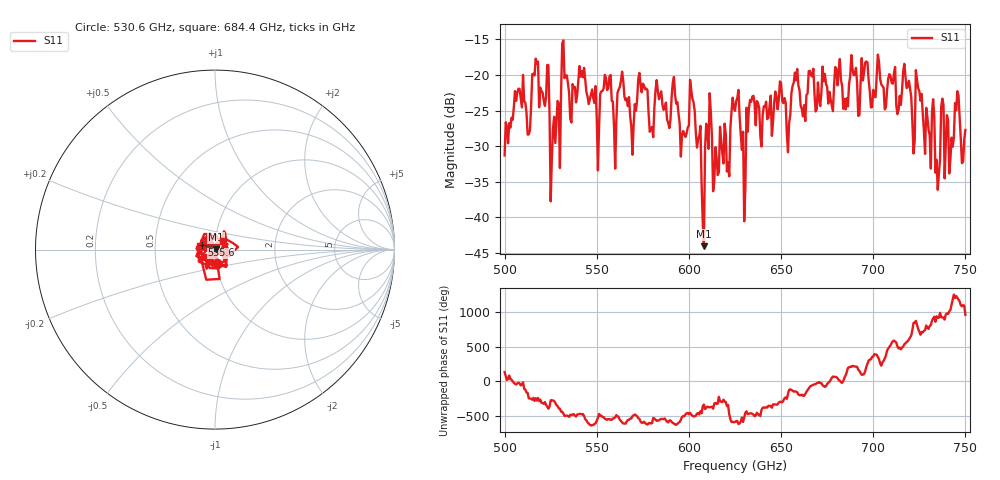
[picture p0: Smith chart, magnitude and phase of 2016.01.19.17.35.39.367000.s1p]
!Created with skrf (http://scikit-rf.org).
# GHz S RI R 50.0
!freq ReS11 ImS11
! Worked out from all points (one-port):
!   401 points, 500 GHz to 750 GHz, reference 50 ohm
!   lowest |S11| = -44.1 dB at 608.1 GHz (marker M1), VSWR 1.01, Z = 50.6 + j0.242 ohm
!   |S11| at or under -10 dB: start of sweep to end of sweep
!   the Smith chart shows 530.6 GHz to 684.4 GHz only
!   S11 on the Smith chart (normalised r, x): 530.6 GHz: 1.01, -0.15; 555.6 GHz: 0.86, +0.04; 684.4 GHz: 1.09, +0.11
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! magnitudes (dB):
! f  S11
! 500 GHz  -31.3
! 506.9 GHz  -22.5
! 513.1 GHz  -28.4
! 516.9 GHz  -17.7
! 526.2 GHz  -27.6
! 530.6 GHz  -22.7
! 531.2 GHz  -15.6
! 550 GHz  -26.1
! 555.6 GHz  -22.1
! 559.4 GHz  -27.3
! 562.5 GHz  -21.7
! 569.4 GHz  -31.2
! 573.8 GHz  -21.3
! 593.8 GHz  -23.8
! 601.9 GHz  -23.3
! 608.1 GHz  -44.1
! 610.6 GHz  -30.4
! 614.4 GHz  -30.2
! 625 GHz  -25.1
! 629.4 GHz  -28.0
! 633.8 GHz  -23.8
! 656.2 GHz  -21.5
! 684.4 GHz  -23.4
! 687.5 GHz  -20.2
! 718.8 GHz  -21.6
! 735 GHz  -36.1
! 745.6 GHz  -22.3
! 750 GHz  -27.7
